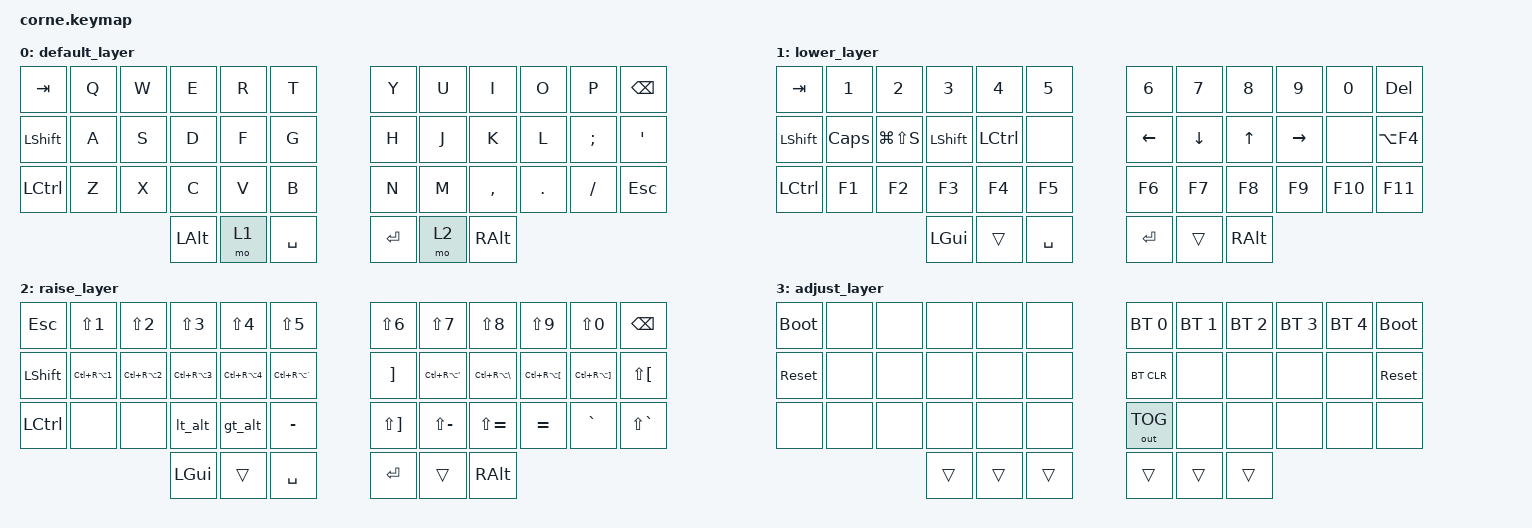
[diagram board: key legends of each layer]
/*
 * Corne Wireless (nice!nano v2) - keymap portado desde QMK/VIA "CUSTOM1"
 *
 * Notas:
 *  - Los glifos finales dependen de la distribucion del SISTEMA OPERATIVO.
 *    Este keymap esta pensado para Windows con teclado ESPAÑOL (igual que el
 *    QMK original): las macros LC(RA(x)) = Ctrl+AltGr+x, y los Alt-codigos
 *    (Alt+60 / Alt+62) producen "<" y ">".
 *  - Capa 3 (adjust) se activa manteniendo capa1 + capa2 a la vez (tri-layer).
 *    Como este Corne NO tiene RGB, la capa 3 se reaprovecha para Bluetooth y
 *    bootloader (necesario en inalambrico).
 */

#include <behaviors.dtsi>
#include <dt-bindings/zmk/keys.h>
#include <dt-bindings/zmk/bt.h>
#include <dt-bindings/zmk/outputs.h>

/ {
        // Tri-layer: mantener capa 1 (lower) + capa 2 (raise) => capa 3 (adjust)
        conditional_layers {
                compatible = "zmk,conditional-layers";
                adjust {
                        if-layers = <1 2>;
                        then-layer = <3>;
                };
        };

        macros {
                // "<"  via Alt-codigo: Alt + numpad 6,0
                lt_alt: lt_alt {
                        compatible = "zmk,behavior-macro";
                        #binding-cells = <0>;
                        wait-ms = <5>;
                        tap-ms = <5>;
                        bindings = <&macro_press &kp LALT>
                                 , <&macro_tap &kp KP_N6 &kp KP_N0>
                                 , <&macro_release &kp LALT>;
                };
                // ">"  via Alt-codigo: Alt + numpad 6,2
                gt_alt: gt_alt {
                        compatible = "zmk,behavior-macro";
                        #binding-cells = <0>;
                        wait-ms = <5>;
                        tap-ms = <5>;
                        bindings = <&macro_press &kp LALT>
                                 , <&macro_tap &kp KP_N6 &kp KP_N2>
                                 , <&macro_release &kp LALT>;
                };
        };

        keymap {
                compatible = "zmk,keymap";

                default_layer {
// -----------------------------------------------------------------------------------------
// |  TAB |  Q  |  W  |  E  |  R  |  T  |   |  Y  |  U  |  I  |  O  |  P  | BSPC |
// | SHFT |  A  |  S  |  D  |  F  |  G  |   |  H  |  J  |  K  |  L  |  ;  |  '   |
// | CTRL |  Z  |  X  |  C  |  V  |  B  |   |  N  |  M  |  ,  |  .  |  /  | ESC  |
//                    | ALT | L1  | SPC |   | ENT | L2  | ALT |
                        bindings = <
   &kp TAB    &kp Q  &kp W  &kp E  &kp R  &kp T       &kp Y  &kp U  &kp I      &kp O    &kp P     &kp BSPC
   &kp LSHFT  &kp A  &kp S  &kp D  &kp F  &kp G       &kp H  &kp J  &kp K      &kp L    &kp SEMI  &kp SQT
   &kp LCTRL  &kp Z  &kp X  &kp C  &kp V  &kp B       &kp N  &kp M  &kp COMMA  &kp DOT  &kp FSLH  &kp ESC
                          &kp LALT  &mo 1  &kp SPACE   &kp RET  &mo 2  &kp RALT
                        >;
                };

                lower_layer {
// -----------------------------------------------------------------------------------------
// |  TAB |  1  |  2  |  3  |  4  |  5  |   |  6  |  7  |  8  |  9  |  0  | DEL  |
// | SHFT | CAPS| WSS | SFT | CTL |     |   | LFT | DWN | UP  | RGT |     | A-F4 |
// | CTRL | F1  | F2  | F3  | F4  | F5  |   | F6  | F7  | F8  | F9  | F10 | F11  |
//                    | GUI |     | SPC |   | ENT |     | ALT |
//   WSS = Win+Shift+S (recorte) | A-F4 = Alt+F4
                        bindings = <
   &kp TAB    &kp N1     &kp N2          &kp N3     &kp N4     &kp N5      &kp N6     &kp N7    &kp N8  &kp N9     &kp N0   &kp DEL
   &kp LSHFT  &kp CAPS   &kp LG(LS(S))   &kp LSHFT  &kp LCTRL  &none       &kp LEFT   &kp DOWN  &kp UP  &kp RIGHT  &none    &kp LA(F4)
   &kp LCTRL  &kp F1     &kp F2          &kp F3     &kp F4     &kp F5      &kp F6     &kp F7    &kp F8  &kp F9     &kp F10  &kp F11
                                      &kp LGUI  &trans  &kp SPACE   &kp RET  &trans  &kp RALT
                        >;
                };

                raise_layer {
// -----------------------------------------------------------------------------------------
// |  ESC | S+1 | S+2 | S+3 | S+4 | S+5 |   | S+6 | S+7 | S+8 | S+9 | S+0 | BSPC |
// | SHFT |CA+1 |CA+2 |CA+3 |CA+4 |CA+` |   |  ]  |CA+' |CA+\ |CA+[ |CA+] | S+[  |
// | CTRL |     |     |  <  |  >  |  -  |   | S+] | S+- | S+= |  =  |  `  | S+`  |
//                    | GUI |     | SPC |   | ENT |     | ALT |
//   S+x = Shift+x | CA+x = Ctrl+AltGr+x | glifos segun layout ES de Windows
                        bindings = <
   &kp ESC    &kp LS(N1)      &kp LS(N2)      &kp LS(N3)      &kp LS(N4)      &kp LS(N5)         &kp LS(N6)    &kp LS(N7)      &kp LS(N8)      &kp LS(N9)      &kp LS(N0)      &kp BSPC
   &kp LSHFT  &kp LC(RA(N1))  &kp LC(RA(N2))  &kp LC(RA(N3))  &kp LC(RA(N4))  &kp LC(RA(GRAVE))  &kp RBKT      &kp LC(RA(SQT)) &kp LC(RA(BSLH)) &kp LC(RA(LBKT)) &kp LC(RA(RBKT)) &kp LS(LBKT)
   &kp LCTRL  &none           &none           &lt_alt         &gt_alt         &kp MINUS          &kp LS(RBKT)  &kp LS(MINUS)   &kp LS(EQUAL)   &kp EQUAL       &kp GRAVE       &kp LS(GRAVE)
                                            &kp LGUI  &trans  &kp SPACE   &kp RET  &trans  &kp RALT
                        >;
                };

                adjust_layer {
// -----------------------------------------------------------------------------------------
// | BOOT |     |     |     |     |     |   | BT0 | BT1 | BT2 | BT3 | BT4 | BOOT |
// | RST  |     |     |     |     |     |   |BTCLR|     |     |     |     | RST  |
// |      |     |     |     |     |     |   |USBBT|     |     |     |     |      |
//                    |     |     |     |   |     |     |     |
//   BOOT = bootloader (para flashear) | RST = sys_reset | BTx = perfil Bluetooth
//   BTCLR = borrar emparejamiento del perfil activo | USBBT = alternar salida USB/BLE
                        bindings = <
   &bootloader  &none  &none  &none  &none  &none      &bt BT_SEL 0  &bt BT_SEL 1  &bt BT_SEL 2  &bt BT_SEL 3  &bt BT_SEL 4  &bootloader
   &sys_reset   &none  &none  &none  &none  &none      &bt BT_CLR    &none         &none         &none         &none         &sys_reset
   &none        &none  &none  &none  &none  &none      &out OUT_TOG  &none         &none         &none         &none         &none
                                  &trans  &trans  &trans   &trans  &trans  &trans
                        >;
                };
        };
};
